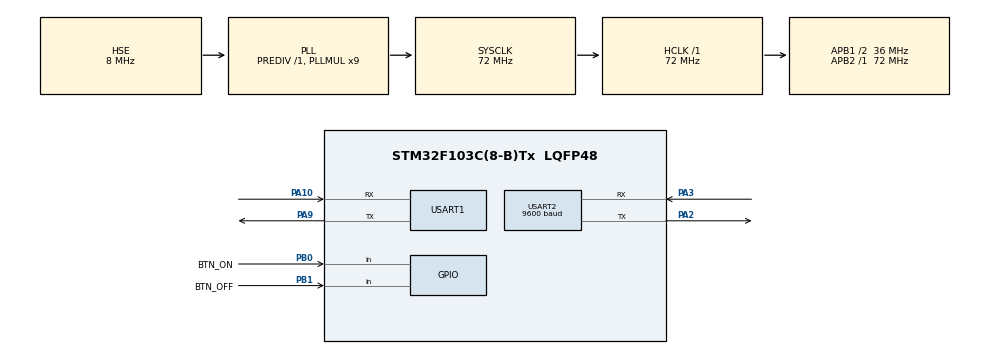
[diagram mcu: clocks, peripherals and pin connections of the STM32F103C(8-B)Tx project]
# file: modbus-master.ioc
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Mcu.Family=STM32F1
Mcu.Name=STM32F103C(8-B)Tx
Mcu.Package=LQFP48
NVIC.PriorityGroup=NVIC_PRIORITYGROUP_4
PA10.Mode=Asynchronous
PA10.Signal=USART1_RX
PA2.Mode=Asynchronous
PA2.Signal=USART2_TX
PA3.Mode=Asynchronous
PA3.Signal=USART2_RX
PA9.Mode=Asynchronous
PA9.Signal=USART1_TX
PB0.GPIO_Label=BTN_ON
PB0.GPIO_PuPd=GPIO_PULLUP
PB0.Signal=GPIO_Input
PB1.GPIO_Label=BTN_OFF
PB1.GPIO_PuPd=GPIO_PULLUP
PB1.Signal=GPIO_Input
PD0-OSC_IN.Mode=HSE-External-Oscillator
PD0-OSC_IN.Signal=RCC_OSC_IN
PD1-OSC_OUT.Mode=HSE-External-Oscillator
PD1-OSC_OUT.Signal=RCC_OSC_OUT
ProjectManager.HeapSize=0x200
ProjectManager.StackSize=0x400
ProjectManager.TargetToolchain=STM32CubeIDE
RCC.AHBFreq_Value=72000000
RCC.APB1CLKDivider=RCC_HCLK_DIV2
RCC.APB1Freq_Value=36000000
RCC.APB1TimFreq_Value=72000000
RCC.APB2Freq_Value=72000000
RCC.APB2TimFreq_Value=72000000
RCC.HCLKFreq_Value=72000000
RCC.PLLMUL=RCC_PLL_MUL9
RCC.PLLSourceVirtual=RCC_PLLSOURCE_HSE
RCC.SYSCLKFreq_VALUE=72000000
RCC.SYSCLKSource=RCC_SYSCLKSOURCE_PLLCLK
RCC.USBFreq_Value=72000000
USART1.VirtualMode=VM_ASYNC
USART2.BaudRate=9600
USART2.VirtualMode=VM_ASYNC
VP_SYS_VS_ND.Mode=No_Debug
board=custom

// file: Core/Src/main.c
/* USER CODE BEGIN Header */
/**
  ******************************************************************************
  * @file           : main.c
  * @brief          : Modbus RTU Master — STM32 #2
  ******************************************************************************
  */
/* USER CODE END Header */

#include "main.h"

/* USER CODE BEGIN Includes */
#include <stdio.h>
#include <string.h>
#include <stdbool.h>
/* USER CODE END Includes */

UART_HandleTypeDef huart1;
UART_HandleTypeDef huart2;

void SystemClock_Config(void);
static void MX_GPIO_Init(void);
static void MX_USART1_UART_Init(void);
static void MX_USART2_UART_Init(void);

/* USER CODE BEGIN PFP */
int __io_putchar(int ch);
static uint16_t crc16(const uint8_t *data, uint16_t len);
static uint8_t modbus_transaction(uint8_t *req, uint8_t req_len,
                                   uint8_t *resp, uint8_t max_resp);
static void read_coils(void);
static void read_scan_count(void);
static void write_coil(uint8_t coil_addr, bool on);
/* USER CODE END PFP */

/* USER CODE BEGIN 0 */

// Redirect printf to USART1 (console → PC via USB-TTL)
int __io_putchar(int ch) {
    HAL_UART_Transmit(&huart1, (uint8_t *)&ch, 1, 100);
    return ch;
}

// CRC-16 Modbus polynomial 0xA001
static uint16_t crc16(const uint8_t *data, uint16_t len) {
    uint16_t crc = 0xFFFF;
    for (uint16_t i = 0; i < len; i++) {
        crc ^= data[i];
        for (uint8_t j = 0; j < 8; j++) {
            if (crc & 0x0001) crc = (crc >> 1) ^ 0xA001;
            else crc >>= 1;
        }
    }
    return crc;
}

#define SLAVE_ADDR           0x01
#define FC_READ_COILS        0x01
#define FC_READ_HOLDING_REGS 0x03
#define FC_WRITE_SINGLE_COIL 0x05

// Send Modbus request on USART2, receive response
// Returns response length or 0 on timeout/error
static uint8_t modbus_transaction(uint8_t *req, uint8_t req_len,
                                   uint8_t *resp, uint8_t max_resp) {
    // Append CRC to request
    uint16_t crc = crc16(req, req_len);
    req[req_len]     = crc & 0xFF;
    req[req_len + 1] = (crc >> 8) & 0xFF;

    // Flush RX buffer
    __HAL_UART_FLUSH_DRREGISTER(&huart2);

    // Send request
    HAL_UART_Transmit(&huart2, req, req_len + 2, 100);

    // Receive response with timeout
    uint8_t resp_len = 0;
    uint32_t deadline = HAL_GetTick() + 300;

    while (HAL_GetTick() < deadline && resp_len < max_resp) {
        if (HAL_UART_Receive(&huart2, &resp[resp_len], 1, 20) == HAL_OK) {
            resp_len++;
            deadline = HAL_GetTick() + 50;
        }
    }

    if (resp_len < 4) return 0;

    // Verify CRC
    uint16_t rx_crc   = ((uint16_t)resp[resp_len-1] << 8) | resp[resp_len-2];
    uint16_t calc_crc = crc16(resp, resp_len - 2);
    if (rx_crc != calc_crc) {
        printf("[CRC ERROR] rx=%04X calc=%04X len=%d\r\n",
               rx_crc, calc_crc, resp_len);
        return 0;
    }

    return resp_len;
}

// FC01 — Read 8 coils: coils 0-3 = Q0-Q3 outputs, coils 4-7 = I0-I3 inputs
static void read_coils(void) {
    uint8_t req[8];
    uint8_t resp[16];

    req[0] = SLAVE_ADDR;
    req[1] = FC_READ_COILS;
    req[2] = 0x00;
    req[3] = 0x00;  // start address: coil 0
    req[4] = 0x00;
    req[5] = 0x08;  // quantity: 8 coils

    uint8_t len = modbus_transaction(req, 6, resp, sizeof(resp));
    if (len == 0) {
        printf("[FC01] No response from slave\r\n");
        return;
    }
    if (resp[1] & 0x80) {
        printf("[FC01] Exception code: %02X\r\n", resp[2]);
        return;
    }

    uint8_t coils = resp[3];
    printf("[FC01] Q0=%d Q1=%d Q2=%d Q3=%d | I0=%d I1=%d I2=%d I3=%d\r\n",
           (coils >> 0) & 1, (coils >> 1) & 1,
           (coils >> 2) & 1, (coils >> 3) & 1,
           (coils >> 4) & 1, (coils >> 5) & 1,
           (coils >> 6) & 1, (coils >> 7) & 1);
}

// FC03 — Read holding registers: reg0=scan count low, reg1=scan count high
static void read_scan_count(void) {
    uint8_t req[8];
    uint8_t resp[16];

    req[0] = SLAVE_ADDR;
    req[1] = FC_READ_HOLDING_REGS;
    req[2] = 0x00;
    req[3] = 0x00;  // register 0
    req[4] = 0x00;
    req[5] = 0x02;  // read 2 registers

    uint8_t len = modbus_transaction(req, 6, resp, sizeof(resp));
    if (len == 0) {
        printf("[FC03] No response from slave\r\n");
        return;
    }
    if (resp[1] & 0x80) {
        printf("[FC03] Exception code: %02X\r\n", resp[2]);
        return;
    }

    uint16_t reg0 = ((uint16_t)resp[3] << 8) | resp[4];
    uint16_t reg1 = ((uint16_t)resp[5] << 8) | resp[6];
    uint32_t scan = ((uint32_t)reg1 << 16) | reg0;
    printf("[FC03] PLC Scan count: %lu\r\n", scan);
}

// FC05 — Write single coil ON or OFF (coil 0-3 = Q0-Q3)
static void write_coil(uint8_t coil_addr, bool on) {
    uint8_t req[8];
    uint8_t resp[16];

    req[0] = SLAVE_ADDR;
    req[1] = FC_WRITE_SINGLE_COIL;
    req[2] = 0x00;
    req[3] = coil_addr;
    req[4] = on ? 0xFF : 0x00;
    req[5] = 0x00;

    uint8_t len = modbus_transaction(req, 6, resp, sizeof(resp));
    if (len == 0) {
        printf("[FC05] No response from slave\r\n");
        return;
    }
    if (resp[1] & 0x80) {
        printf("[FC05] Exception code: %02X\r\n", resp[2]);
        return;
    }

    printf("[FC05] Coil %d set %s OK\r\n", coil_addr, on ? "ON" : "OFF");
}

/* USER CODE END 0 */

int main(void) {

    HAL_Init();

    SystemClock_Config();

    MX_GPIO_Init();
    MX_USART1_UART_Init();
    MX_USART2_UART_Init();

    /* USER CODE BEGIN 2 */
    printf("\r\n==============================\r\n");
    printf("  Modbus RTU Master\r\n");
    printf("  STM32 Mini PLC Demo\r\n");
    printf("==============================\r\n");
    printf("Slave addr: 0x01\r\n");
    printf("Baud: 9600 on USART2\r\n");
    printf("Console: 115200 on USART1\r\n");
    printf("PB0 = Force Q0 ON\r\n");
    printf("PB1 = Force Q0 OFF\r\n\r\n");

    uint32_t last_coil_tick = 0;
    uint32_t last_scan_tick = 0;
    bool btn0_prev = true;
    bool btn1_prev = true;
    /* USER CODE END 2 */

    while (1) {
        /* USER CODE BEGIN 3 */
        uint32_t now = HAL_GetTick();

        // Read coils every 1 second
        if (now - last_coil_tick >= 1000) {
            last_coil_tick = now;
            read_coils();
        }

        // Read scan count every 3 seconds
        if (now - last_scan_tick >= 3000) {
            last_scan_tick = now;
            read_scan_count();
        }

        // PB0 pressed (active LOW) — force Q0 ON via Modbus
        bool btn0 = (HAL_GPIO_ReadPin(BTN_ON_GPIO_Port, BTN_ON_Pin) == GPIO_PIN_RESET);
        if (btn0 && !btn0_prev) {
            write_coil(0, true);
        }
        btn0_prev = btn0;

        // PB1 pressed (active LOW) — force Q0 OFF via Modbus
        bool btn1 = (HAL_GPIO_ReadPin(BTN_OFF_GPIO_Port, BTN_OFF_Pin) == GPIO_PIN_RESET);
        if (btn1 && !btn1_prev) {
            write_coil(0, false);
        }
        btn1_prev = btn1;

        HAL_Delay(10);
        /* USER CODE END 3 */
    }
}

void SystemClock_Config(void) {
    RCC_OscInitTypeDef RCC_OscInitStruct = {0};
    RCC_ClkInitTypeDef RCC_ClkInitStruct = {0};

    RCC_OscInitStruct.OscillatorType = RCC_OSCILLATORTYPE_HSE;
    RCC_OscInitStruct.HSEState = RCC_HSE_ON;
    RCC_OscInitStruct.HSEPredivValue = RCC_HSE_PREDIV_DIV1;
    RCC_OscInitStruct.HSIState = RCC_HSI_ON;
    RCC_OscInitStruct.PLL.PLLState = RCC_PLL_ON;
    RCC_OscInitStruct.PLL.PLLSource = RCC_PLLSOURCE_HSE;
    RCC_OscInitStruct.PLL.PLLMUL = RCC_PLL_MUL9;
    if (HAL_RCC_OscConfig(&RCC_OscInitStruct) != HAL_OK) {
        Error_Handler();
    }

    RCC_ClkInitStruct.ClockType = RCC_CLOCKTYPE_HCLK | RCC_CLOCKTYPE_SYSCLK
                                | RCC_CLOCKTYPE_PCLK1 | RCC_CLOCKTYPE_PCLK2;
    RCC_ClkInitStruct.SYSCLKSource = RCC_SYSCLKSOURCE_PLLCLK;
    RCC_ClkInitStruct.AHBCLKDivider = RCC_SYSCLK_DIV1;
    RCC_ClkInitStruct.APB1CLKDivider = RCC_HCLK_DIV2;
    RCC_ClkInitStruct.APB2CLKDivider = RCC_HCLK_DIV1;
    if (HAL_RCC_ClockConfig(&RCC_ClkInitStruct, FLASH_LATENCY_2) != HAL_OK) {
        Error_Handler();
    }
}

static void MX_USART1_UART_Init(void) {
    huart1.Instance = USART1;
    huart1.Init.BaudRate = 115200;
    huart1.Init.WordLength = UART_WORDLENGTH_8B;
    huart1.Init.StopBits = UART_STOPBITS_1;
    huart1.Init.Parity = UART_PARITY_NONE;
    huart1.Init.Mode = UART_MODE_TX_RX;
    huart1.Init.HwFlowCtl = UART_HWCONTROL_NONE;
    huart1.Init.OverSampling = UART_OVERSAMPLING_16;
    if (HAL_UART_Init(&huart1) != HAL_OK) {
        Error_Handler();
    }
}

static void MX_USART2_UART_Init(void) {
    huart2.Instance = USART2;
    huart2.Init.BaudRate = 9600;
    huart2.Init.WordLength = UART_WORDLENGTH_8B;
    huart2.Init.StopBits = UART_STOPBITS_1;
    huart2.Init.Parity = UART_PARITY_NONE;
    huart2.Init.Mode = UART_MODE_TX_RX;
    huart2.Init.HwFlowCtl = UART_HWCONTROL_NONE;
    huart2.Init.OverSampling = UART_OVERSAMPLING_16;
    if (HAL_UART_Init(&huart2) != HAL_OK) {
        Error_Handler();
    }
}

static void MX_GPIO_Init(void) {
    GPIO_InitTypeDef GPIO_InitStruct = {0};

    __HAL_RCC_GPIOD_CLK_ENABLE();
    __HAL_RCC_GPIOA_CLK_ENABLE();
    __HAL_RCC_GPIOB_CLK_ENABLE();

    // PB0 = BTN_ON, PB1 = BTN_OFF — input with pull-up
    GPIO_InitStruct.Pin = BTN_ON_Pin | BTN_OFF_Pin;
    GPIO_InitStruct.Mode = GPIO_MODE_INPUT;
    GPIO_InitStruct.Pull = GPIO_PULLUP;
    HAL_GPIO_Init(GPIOB, &GPIO_InitStruct);
}

void Error_Handler(void) {
    __disable_irq();
    while (1) {}
}
